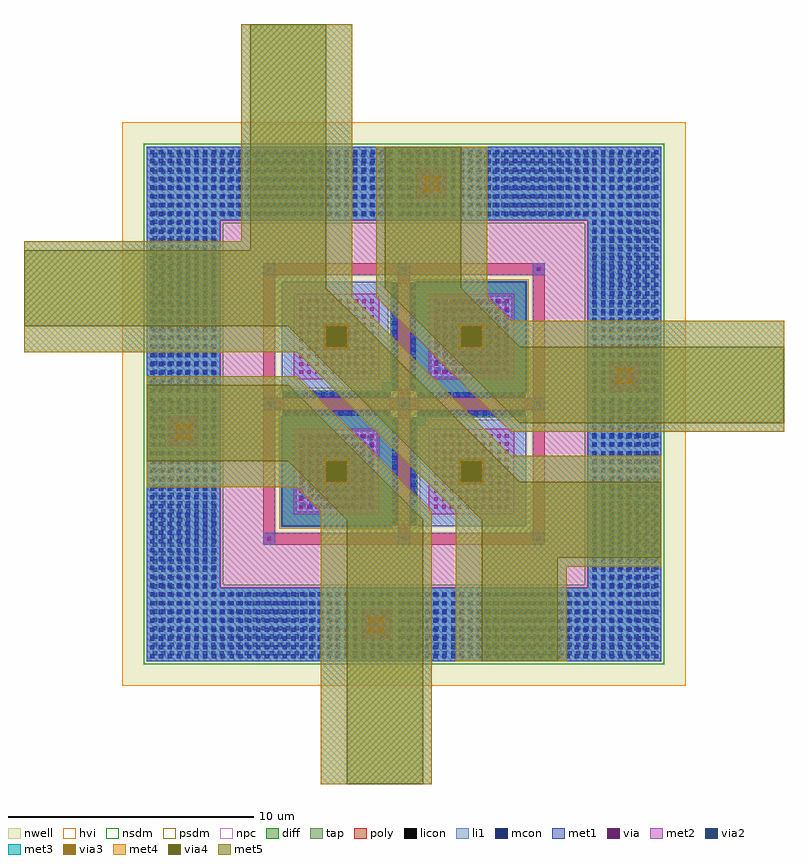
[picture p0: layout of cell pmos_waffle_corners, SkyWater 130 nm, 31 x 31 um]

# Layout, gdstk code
import gdstk
lib = gdstk.Library(unit=1e-6, precision=1e-09)
def R(c, l, rs):  # rectangles x0, y0, x1, y1
    for r in rs: c.add(gdstk.rectangle(r[:2], r[2:], *l))
def A(c, l, x, y, w, h, nx, ny, dx, dy):  # array of equal rectangles
    R(c, l, [(x+i*dx, y+j*dy, x+i*dx+w, y+j*dy+h) for i in range(nx) for j in range(ny)])
def P(c, l, *ps):  # polygons
    for p in ps: c.add(gdstk.Polygon(p, *l))
nwell = (64, 20)
diff = (65, 20)
tap = (65, 44)
poly = (66, 20)
licon = (66, 44)
li1 = (67, 20)
mcon = (67, 44)
met1 = (68, 20)
via = (68, 44)
met2 = (69, 20)
via2 = (69, 44)
met3 = (70, 20)
via3 = (70, 44)
met4 = (71, 20)
via4 = (71, 44)
met5 = (72, 20)
hvi = (75, 20)
nsdm = (93, 44)
psdm = (94, 20)
npc = (95, 20)

pmos_waffle_corners = lib.new_cell('pmos_waffle_corners')
R(pmos_waffle_corners, nwell, [(-11.25,-11.75,11.75,11.25)])
R(pmos_waffle_corners, diff, [(-4.71,-5.21,-0.29,-5.19), (-4.71,-5.19,0.79,-4.65), (-4.71,-4.65,-4.15,-1.35), (-0.85,-4.65,0.79,-1.35), (-4.71,-1.35,0.79,-1.14), (-4.71,-1.14,1.14,-0.81), (-4.71,-0.81,-0.29,-0.79), (0.81,-0.81,1.14,-0.79), (-4.69,-0.79,-0.31,0.29), (0.81,-0.79,5.19,0.29), (-0.64,0.29,-0.31,0.31), (0.79,0.29,5.21,0.31), (-0.64,0.31,5.21,0.64), (-0.29,0.64,5.21,0.85), (-0.29,0.85,1.35,4.15), (4.65,0.85,5.21,4.15), (-0.29,4.15,5.21,4.69), (0.79,4.69,5.21,4.71)])
R(pmos_waffle_corners, tap, [(-10.25,-10.75,10.75,-7.75), (-10.25,-7.75,-7.25,7.25), (7.75,-7.75,10.75,7.25), (-4.15,-4.65,-0.85,-1.35), (1.35,0.85,4.65,4.15), (-10.25,7.25,10.75,10.25)])
A(pmos_waffle_corners, poly, -5.5, -6, 11.5, 0.5, 1, 3, 0, 5.5)
A(pmos_waffle_corners, poly, -5.5, -5.5, 0.5, 5, 3, 2, 5.5, 5.5)
A(pmos_waffle_corners, licon, -9.995, -10.5, 0.17, 0.17, 29, 8, 0.34, 0.34)
A(pmos_waffle_corners, licon, 0.13, -10.5, 0.17, 0.17, 31, 8, 0.34, 0.34)
A(pmos_waffle_corners, licon, -9.995, -7.78, 0.17, 0.17, 8, 23, 0.34, 0.34)
A(pmos_waffle_corners, licon, 7.95, -7.78, 0.17, 0.17, 8, 23, 0.34, 0.34)
A(pmos_waffle_corners, licon, -5.335, -5.835, 0.17, 0.17, 3, 3, 5.5, 5.5)
A(pmos_waffle_corners, licon, -0.23, -5.125, 0.17, 0.17, 1, 13, 0, 0.34)
A(pmos_waffle_corners, licon, 0.56, -5.125, 0.17, 0.17, 1, 13, 0, 0.34)
A(pmos_waffle_corners, licon, -3.945, -4.445, 0.17, 0.17, 9, 9, 0.34, 0.34)
A(pmos_waffle_corners, licon, -4.625, -0.73, 0.17, 0.17, 13, 2, 0.34, 0.79)
A(pmos_waffle_corners, licon, 0.875, -0.73, 0.17, 0.17, 13, 2, 0.34, 0.79)
A(pmos_waffle_corners, licon, -9.995, 0.305, 0.17, 0.17, 8, 21, 0.34, 0.34)
A(pmos_waffle_corners, licon, 7.95, 0.305, 0.17, 0.17, 8, 21, 0.34, 0.34)
A(pmos_waffle_corners, licon, -0.23, 0.375, 0.17, 0.17, 1, 13, 0, 0.34)
A(pmos_waffle_corners, licon, 0.56, 0.375, 0.17, 0.17, 1, 13, 0, 0.34)
A(pmos_waffle_corners, licon, 1.555, 1.055, 0.17, 0.17, 9, 9, 0.34, 0.34)
A(pmos_waffle_corners, licon, -9.995, 7.445, 0.17, 0.17, 29, 8, 0.34, 0.34)
A(pmos_waffle_corners, licon, 0.13, 7.445, 0.17, 0.17, 31, 8, 0.34, 0.34)
A(pmos_waffle_corners, li1, -5.5, -6, 0.5, 0.5, 3, 3, 5.5, 5.5)
R(pmos_waffle_corners, li1, [(-10.25,-10.75,10.75,-7.75), (-10.25,-7.75,-7.25,7.25), (7.75,-7.75,10.75,7.25), (-4.77,-5.27,-0.23,-5.21), (-4.77,-5.21,-0.06,-0.79), (0.56,-5.21,0.73,-1.14), (0.56,-1.14,1.14,-0.79), (-4.77,-0.79,-0.23,-0.73), (0.79,-0.79,1.14,-0.73), (-4.71,-0.73,-0.29,-0.56), (0.79,-0.73,5.21,-0.56), (-4.71,0.06,-0.29,0.23), (0.79,0.06,5.21,0.23), (-0.64,0.23,-0.29,0.29), (0.73,0.23,5.27,0.29), (-0.64,0.29,-0.06,0.64), (0.56,0.29,5.27,4.71), (-0.23,0.64,-0.06,4.71), (0.73,4.71,5.27,4.77), (-10.25,7.25,10.75,10.25)])
A(pmos_waffle_corners, mcon, -10.105, -10.62, 0.17, 0.17, 28, 8, 0.36, 0.36)
A(pmos_waffle_corners, mcon, 0.01, -10.62, 0.17, 0.17, 30, 8, 0.36, 0.36)
A(pmos_waffle_corners, mcon, -10.105, -7.74, 0.17, 0.17, 8, 22, 0.36, 0.36)
A(pmos_waffle_corners, mcon, 7.93, -7.74, 0.17, 0.17, 8, 22, 0.36, 0.36)
A(pmos_waffle_corners, mcon, -5.335, -5.835, 0.17, 0.17, 3, 3, 5.5, 5.5)
A(pmos_waffle_corners, mcon, -0.23, -5.065, 0.17, 0.17, 1, 12, 0, 0.36)
A(pmos_waffle_corners, mcon, 0.56, -5.065, 0.17, 0.17, 1, 12, 0, 0.36)
A(pmos_waffle_corners, mcon, -4.025, -4.525, 0.17, 0.17, 9, 9, 0.36, 0.36)
A(pmos_waffle_corners, mcon, -4.565, -0.73, 0.17, 0.17, 12, 2, 0.36, 0.79)
A(pmos_waffle_corners, mcon, 0.935, -0.73, 0.17, 0.17, 12, 2, 0.36, 0.79)
A(pmos_waffle_corners, mcon, -10.105, 0.215, 0.17, 0.17, 8, 20, 0.36, 0.36)
A(pmos_waffle_corners, mcon, 7.93, 0.215, 0.17, 0.17, 8, 20, 0.36, 0.36)
A(pmos_waffle_corners, mcon, -0.23, 0.435, 0.17, 0.17, 1, 12, 0, 0.36)
A(pmos_waffle_corners, mcon, 0.56, 0.435, 0.17, 0.17, 1, 12, 0, 0.36)
A(pmos_waffle_corners, mcon, 1.475, 0.975, 0.17, 0.17, 9, 9, 0.36, 0.36)
A(pmos_waffle_corners, mcon, -10.105, 7.415, 0.17, 0.17, 28, 8, 0.36, 0.36)
A(pmos_waffle_corners, mcon, 0.01, 7.415, 0.17, 0.17, 30, 8, 0.36, 0.36)
A(pmos_waffle_corners, met1, -5.5, -6, 0.5, 0.5, 3, 3, 5.5, 5.5)
R(pmos_waffle_corners, met1, [(-10.25,-10.75,10.75,-7.75), (-10.25,-7.75,-7.25,7.25), (7.75,-7.75,10.75,7.25), (-4.74,-5.24,-0.26,-5.19), (0.76,-5.24,5.24,-5.19), (-4.74,-5.19,-0.03,-0.81), (0.53,-5.19,5.24,-0.81), (-4.74,-0.81,-0.26,-0.76), (0.76,-0.81,5.24,-0.76), (-4.69,-0.76,-0.31,-0.53), (0.81,-0.76,5.19,-0.53), (-4.69,0.03,-0.31,0.26), (0.81,0.03,5.19,0.26), (-4.74,0.26,-0.26,0.31), (0.76,0.26,5.24,0.31), (-4.74,0.31,-0.03,4.69), (0.53,0.31,5.24,4.69), (-4.74,4.69,-0.26,4.74), (0.76,4.69,5.24,4.74), (-10.25,7.25,10.75,10.25)])
A(pmos_waffle_corners, via, -1.275, -9.645, 0.15, 0.15, 3, 3, 0.32, 0.32)
A(pmos_waffle_corners, via, -5.325, -5.825, 0.15, 0.15, 3, 3, 5.5, 5.5)
A(pmos_waffle_corners, via, -4.015, -4.515, 0.15, 0.15, 10, 10, 0.32, 0.32)
A(pmos_waffle_corners, via, 1.485, -4.515, 0.15, 0.15, 10, 10, 0.32, 0.32)
A(pmos_waffle_corners, via, -9.145, -1.775, 0.15, 0.15, 3, 3, 0.32, 0.32)
A(pmos_waffle_corners, via, 8.855, 0.485, 0.15, 0.15, 3, 3, 0.32, 0.32)
A(pmos_waffle_corners, via, -4.015, 0.985, 0.15, 0.15, 10, 10, 0.32, 0.32)
A(pmos_waffle_corners, via, 1.485, 0.985, 0.15, 0.15, 10, 10, 0.32, 0.32)
A(pmos_waffle_corners, via, 0.985, 8.355, 0.15, 0.15, 3, 3, 0.32, 0.32)
R(pmos_waffle_corners, met2, [(-1.48,-9.85,-0.28,-8.65), (-7.25,-7.75,7.75,-5.5), (-7.25,-5.5,-5,-0.5), (0,-5.5,0.5,-0.5), (5.5,-5.5,7.75,-0.5), (-4.25,-4.75,-0.75,-1.25), (1.25,-4.75,4.75,-1.25), (-9.35,-1.98,-8.15,-0.78), (-7.25,-0.5,7.75,0), (-7.25,0,-5,5), (0,0,0.5,5), (5.5,0,7.75,5), (8.65,0.28,9.85,1.48), (-4.25,0.75,-0.75,4.25), (1.25,0.75,4.75,4.25), (-7.25,5,7.75,7.25), (0.78,8.15,1.98,9.35)])
A(pmos_waffle_corners, via2, -3, -3.5, 0.2, 0.2, 3, 3, 0.4, 0.4)
A(pmos_waffle_corners, via2, 2.5, -3.5, 0.2, 0.2, 3, 3, 0.4, 0.4)
A(pmos_waffle_corners, via2, -3, 2, 0.2, 0.2, 3, 3, 0.4, 0.4)
A(pmos_waffle_corners, via2, 2.5, 2, 0.2, 0.2, 3, 3, 0.4, 0.4)
R(pmos_waffle_corners, via2, [(-1.18,-9.55,-0.98,-9.35), (-0.78,-9.55,-0.58,-9.35), (-1.18,-9.15,-0.98,-8.95), (-0.78,-9.15,-0.58,-8.95), (-9.05,-1.68,-8.85,-1.48), (-8.65,-1.68,-8.45,-1.48), (-9.05,-1.28,-8.85,-1.08), (-8.65,-1.28,-8.45,-1.08), (8.95,0.58,9.15,0.78), (9.35,0.58,9.55,0.78), (8.95,0.98,9.15,1.18), (9.35,0.98,9.55,1.18), (1.08,8.45,1.28,8.65), (1.48,8.45,1.68,8.65), (1.08,8.85,1.28,9.05), (1.48,8.85,1.68,9.05)])
R(pmos_waffle_corners, met3, [(-3.14,-15.75,1.38,-4.62), (2.36,-10.75,6.88,-6.88), (2.36,-6.88,10.75,-3.64), (-3.14,-4.62,0.4,-3.64), (-10.25,-3.64,0.36,-3.6), (1.38,-3.64,10.75,-3.6), (-10.25,-3.6,0,-3.24), (1.34,-3.6,10.75,-3.24), (-10.25,-3.24,-0.84,-2.4), (0.98,-3.24,10.75,-2.4), (-10.25,-2.4,-0.88,-2.36), (0.14,-2.4,10.75,-2.36), (-10.25,-2.36,-1.86,-1.38), (0.1,-2.36,3.64,-1.38), (-10.25,-1.38,-2.84,-0.4), (-0.88,-1.38,2.66,-0.4), (4.62,-1.38,15.75,-0.4), (-10.25,-0.4,-3.24,0), (-1.86,-0.4,1.88,0), (3.64,-0.4,15.75,0.38), (-10.25,0,-3.62,0.38), (-2.26,0,1.88,0.38), (-10.25,0.38,-4.12,0.88), (-2.64,0.38,1.68,0.58), (2.86,0.38,15.75,0.58), (-2.64,0.58,0.88,0.88), (2.66,0.58,15.75,1.38), (-3.14,0.88,0.88,1.38), (-3.64,1.38,0.36,1.86), (1.86,1.38,15.75,1.9), (-15.25,1.86,0.36,1.9), (-15.25,1.9,0,2.26), (1.34,1.9,15.75,2.26), (-15.25,2.26,-0.84,3.1), (0.98,2.26,15.75,3.1), (-15.25,3.1,-0.88,3.14), (0.14,3.1,15.75,3.14), (-15.25,3.14,-1.86,6.38), (0.1,3.14,3.64,4.12), (-0.88,4.12,3.64,10.25), (-6.38,6.38,-1.86,15.25)])
P(pmos_waffle_corners, met3, [(-1.86,4.12),(-1.86,3.14),(-0.88,3.14)],
  [(-0.88,4.12),(0.1,4.12),(0.1,3.14)],
  [(3.64,4.12),(3.64,3.14),(4.62,3.14)],
  [(-0.88,3.14),(-0.88,3.1),(-0.84,3.1)],
  [(0.1,3.14),(0.14,3.14),(0.14,3.1)],
  [(-0.84,3.1),(-0.84,2.26),(0,2.26)],
  [(0.14,3.1),(0.98,3.1),(0.98,2.26)],
  [(0,2.26),(0,1.9),(0.36,1.9)],
  [(0.98,2.26),(1.34,2.26),(1.34,1.9)],
  [(-4.12,1.86),(-3.64,1.86),(-3.64,1.38)],
  [(0.36,1.9),(0.36,1.38),(0.88,1.38)],
  [(1.34,1.9),(1.86,1.9),(1.86,1.38)],
  [(-3.64,1.38),(-3.14,1.38),(-3.14,0.88)],
  [(-4.12,0.88),(-4.12,0.38),(-3.62,0.38)],
  [(-3.14,0.88),(-2.64,0.88),(-2.64,0.38)],
  [(0.88,1.38),(0.88,0.58),(1.68,0.58)],
  [(1.86,1.38),(2.66,1.38),(2.66,0.58)],
  [(1.68,0.58),(1.68,0.38),(1.88,0.38)],
  [(2.66,0.58),(2.86,0.58),(2.86,0.38)],
  [(-3.62,0.38),(-3.62,0),(-3.24,0)],
  [(-2.64,0.38),(-2.26,0.38),(-2.26,0)],
  [(-3.24,0),(-3.24,-0.4),(-2.84,-0.4)],
  [(-2.26,0),(-1.86,0),(-1.86,-0.4)],
  [(1.88,0.38),(1.88,-0.4),(2.66,-0.4)],
  [(2.86,0.38),(3.64,0.38),(3.64,-0.4)],
  [(-2.84,-0.4),(-2.84,-1.38),(-1.86,-1.38)],
  [(-1.86,-0.4),(-0.88,-0.4),(-0.88,-1.38)],
  [(2.66,-0.4),(2.66,-1.38),(3.64,-1.38)],
  [(3.64,-0.4),(4.62,-0.4),(4.62,-1.38)],
  [(-1.86,-1.38),(-1.86,-2.36),(-0.88,-2.36)],
  [(-0.88,-1.38),(0.1,-1.38),(0.1,-2.36)],
  [(3.64,-1.38),(3.64,-2.36),(4.62,-2.36)],
  [(-0.88,-2.36),(-0.88,-2.4),(-0.84,-2.4)],
  [(0.1,-2.36),(0.14,-2.36),(0.14,-2.4)],
  [(-0.84,-2.4),(-0.84,-3.24),(0,-3.24)],
  [(0.14,-2.4),(0.98,-2.4),(0.98,-3.24)],
  [(0,-3.24),(0,-3.6),(0.36,-3.6)],
  [(0.98,-3.24),(1.34,-3.24),(1.34,-3.6)],
  [(0.36,-3.6),(0.36,-3.64),(0.4,-3.64)],
  [(1.34,-3.6),(1.38,-3.6),(1.38,-3.64)],
  [(-4.12,-3.64),(-3.14,-3.64),(-3.14,-4.62)],
  [(0.4,-3.64),(0.4,-4.62),(1.38,-4.62)],
  [(1.38,-3.64),(2.36,-3.64),(2.36,-4.62)])
A(pmos_waffle_corners, via3, -3, -3.5, 0.2, 0.2, 3, 3, 0.4, 0.4)
A(pmos_waffle_corners, via3, 2.5, -3.5, 0.2, 0.2, 3, 3, 0.4, 0.4)
A(pmos_waffle_corners, via3, -3, 2, 0.2, 0.2, 3, 3, 0.4, 0.4)
A(pmos_waffle_corners, via3, 2.5, 2, 0.2, 0.2, 3, 3, 0.4, 0.4)
R(pmos_waffle_corners, via3, [(-1.18,-9.55,-0.98,-9.35), (-0.78,-9.55,-0.58,-9.35), (-1.18,-9.15,-0.98,-8.95), (-0.78,-9.15,-0.58,-8.95), (-9.05,-1.68,-8.85,-1.48), (-8.65,-1.68,-8.45,-1.48), (-9.05,-1.28,-8.85,-1.08), (-8.65,-1.28,-8.45,-1.08), (8.95,0.58,9.15,0.78), (9.35,0.58,9.55,0.78), (8.95,0.98,9.15,1.18), (9.35,0.98,9.55,1.18), (1.08,8.45,1.28,8.65), (1.48,8.45,1.68,8.65), (1.08,8.85,1.28,9.05), (1.48,8.85,1.68,9.05)])
R(pmos_waffle_corners, met4, [(-3.14,-15.75,1.38,-4.62), (2.36,-10.75,6.88,-6.88), (2.36,-6.88,10.75,-3.64), (-3.14,-4.62,0.4,-3.64), (-10.25,-3.64,0.36,-3.6), (1.38,-3.64,10.75,-3.6), (-10.25,-3.6,0,-3.24), (1.34,-3.6,10.75,-3.24), (-10.25,-3.24,-0.84,-2.4), (0.98,-3.24,10.75,-2.4), (-10.25,-2.4,-0.88,-2.36), (0.14,-2.4,10.75,-2.36), (-10.25,-2.36,-1.86,-1.38), (0.1,-2.36,3.64,-1.38), (-10.25,-1.38,-2.84,-0.4), (-0.88,-1.38,2.66,-0.4), (4.62,-1.38,15.75,-0.4), (-10.25,-0.4,-3.24,0), (-1.86,-0.4,1.88,0), (3.64,-0.4,15.75,0.38), (-10.25,0,-3.62,0.38), (-2.26,0,1.88,0.38), (-10.25,0.38,-4.12,0.88), (-2.64,0.38,1.68,0.58), (2.86,0.38,15.75,0.58), (-2.64,0.58,0.88,0.88), (2.66,0.58,15.75,1.38), (-3.14,0.88,0.88,1.38), (-3.64,1.38,0.36,1.86), (1.86,1.38,15.75,1.9), (-15.25,1.86,0.36,1.9), (-15.25,1.9,0,2.26), (1.34,1.9,15.75,2.26), (-15.25,2.26,-0.84,3.1), (0.98,2.26,15.75,3.1), (-15.25,3.1,-0.88,3.14), (0.14,3.1,15.75,3.14), (-15.25,3.14,-1.86,6.38), (0.1,3.14,3.64,4.12), (-0.88,4.12,3.64,10.25), (-6.38,6.38,-1.86,15.25)])
P(pmos_waffle_corners, met4, [(-1.86,4.12),(-1.86,3.14),(-0.88,3.14)],
  [(-0.88,4.12),(0.1,4.12),(0.1,3.14)],
  [(3.64,4.12),(3.64,3.14),(4.62,3.14)],
  [(-0.88,3.14),(-0.88,3.1),(-0.84,3.1)],
  [(0.1,3.14),(0.14,3.14),(0.14,3.1)],
  [(-0.84,3.1),(-0.84,2.26),(0,2.26)],
  [(0.14,3.1),(0.98,3.1),(0.98,2.26)],
  [(0,2.26),(0,1.9),(0.36,1.9)],
  [(0.98,2.26),(1.34,2.26),(1.34,1.9)],
  [(-4.12,1.86),(-3.64,1.86),(-3.64,1.38)],
  [(0.36,1.9),(0.36,1.38),(0.88,1.38)],
  [(1.34,1.9),(1.86,1.9),(1.86,1.38)],
  [(-3.64,1.38),(-3.14,1.38),(-3.14,0.88)],
  [(-4.12,0.88),(-4.12,0.38),(-3.62,0.38)],
  [(-3.14,0.88),(-2.64,0.88),(-2.64,0.38)],
  [(0.88,1.38),(0.88,0.58),(1.68,0.58)],
  [(1.86,1.38),(2.66,1.38),(2.66,0.58)],
  [(1.68,0.58),(1.68,0.38),(1.88,0.38)],
  [(2.66,0.58),(2.86,0.58),(2.86,0.38)],
  [(-3.62,0.38),(-3.62,0),(-3.24,0)],
  [(-2.64,0.38),(-2.26,0.38),(-2.26,0)],
  [(-3.24,0),(-3.24,-0.4),(-2.84,-0.4)],
  [(-2.26,0),(-1.86,0),(-1.86,-0.4)],
  [(1.88,0.38),(1.88,-0.4),(2.66,-0.4)],
  [(2.86,0.38),(3.64,0.38),(3.64,-0.4)],
  [(-2.84,-0.4),(-2.84,-1.38),(-1.86,-1.38)],
  [(-1.86,-0.4),(-0.88,-0.4),(-0.88,-1.38)],
  [(2.66,-0.4),(2.66,-1.38),(3.64,-1.38)],
  [(3.64,-0.4),(4.62,-0.4),(4.62,-1.38)],
  [(-1.86,-1.38),(-1.86,-2.36),(-0.88,-2.36)],
  [(-0.88,-1.38),(0.1,-1.38),(0.1,-2.36)],
  [(3.64,-1.38),(3.64,-2.36),(4.62,-2.36)],
  [(-0.88,-2.36),(-0.88,-2.4),(-0.84,-2.4)],
  [(0.1,-2.36),(0.14,-2.36),(0.14,-2.4)],
  [(-0.84,-2.4),(-0.84,-3.24),(0,-3.24)],
  [(0.14,-2.4),(0.98,-2.4),(0.98,-3.24)],
  [(0,-3.24),(0,-3.6),(0.36,-3.6)],
  [(0.98,-3.24),(1.34,-3.24),(1.34,-3.6)],
  [(0.36,-3.6),(0.36,-3.64),(0.4,-3.64)],
  [(1.34,-3.6),(1.38,-3.6),(1.38,-3.64)],
  [(-4.12,-3.64),(-3.14,-3.64),(-3.14,-4.62)],
  [(0.4,-3.64),(0.4,-4.62),(1.38,-4.62)],
  [(1.38,-3.64),(2.36,-3.64),(2.36,-4.62)])
R(pmos_waffle_corners, via4, [(-2.9,-3.4,-2.1,-2.6), (2.6,-3.4,3.4,-2.6), (-2.9,2.1,-2.1,2.9), (2.6,2.1,3.4,2.9)])
R(pmos_waffle_corners, met5, [(-2.08,-15.75,1.03,-4.97), (3.42,-10.75,6.53,-6.53), (3.42,-6.53,10.75,-3.94), (-2.08,-4.97,0,-3.94), (-2.08,-3.94,-0.34,-3.6), (2.38,-3.94,10.75,-3.6), (-3.46,-3.6,-1.54,-2.58), (2.04,-3.6,10.75,-3.42), (2.04,-3.42,3.96,-2.4), (-10.25,-2.58,-1.54,-2.4), (-10.25,-2.4,-2.91,-1.03), (0.84,-2.4,2.59,-1.03), (-10.25,-1.03,-3.94,0), (-0.53,-1.03,1.56,0), (4.97,-1.03,15.75,0), (-10.25,0,-4.47,0.53), (-1.56,0,0,0.53), (3.94,0,15.75,1.56), (-2.09,0.53,0,1.56), (-3.12,1.56,-0.34,1.9), (2.38,1.56,15.75,1.9), (-3.46,1.9,-1.54,2.92), (2.04,1.9,15.75,2.08), (2.04,2.08,3.96,3.1), (-15.25,2.92,-1.54,3.1), (-15.25,3.1,-2.92,6.03), (0.84,3.1,2.58,4.47), (-0.53,4.47,2.58,10.25), (-6.03,6.03,-2.92,15.25)])
P(pmos_waffle_corners, met5, [(-2.92,4.48),(-2.92,3.1),(-1.54,3.1)],
  [(-0.53,4.47),(0.84,4.47),(0.84,3.1)],
  [(2.58,4.48),(2.58,3.1),(3.96,3.1)],
  [(-4.48,2.92),(-3.46,2.92),(-3.46,1.9)],
  [(-1.54,3.1),(-1.54,1.9),(-0.34,1.9)],
  [(0.84,3.1),(2.04,3.1),(2.04,1.9)],
  [(3.96,3.1),(3.96,2.08),(4.98,2.08)],
  [(-3.46,1.9),(-3.12,1.9),(-3.12,1.56)],
  [(-0.34,1.9),(-0.34,1.56),(0,1.56)],
  [(2.04,1.9),(2.38,1.9),(2.38,1.56)],
  [(-3.12,1.56),(-2.09,1.56),(-2.09,0.53)],
  [(-4.47,0.53),(-4.47,0),(-3.94,0)],
  [(-2.09,0.53),(-1.56,0.53),(-1.56,0)],
  [(0,1.56),(0,0),(1.56,0)],
  [(2.38,1.56),(3.94,1.56),(3.94,0)],
  [(-3.94,0),(-3.94,-1.03),(-2.91,-1.03)],
  [(-1.56,0),(-0.53,0),(-0.53,-1.03)],
  [(1.56,0),(1.56,-1.03),(2.59,-1.03)],
  [(3.94,0),(4.97,0),(4.97,-1.03)],
  [(-2.91,-1.03),(-2.91,-2.4),(-1.54,-2.4)],
  [(-0.53,-1.03),(0.84,-1.03),(0.84,-2.4)],
  [(2.59,-1.03),(2.59,-2.4),(3.96,-2.4)],
  [(-4.48,-2.58),(-3.46,-2.58),(-3.46,-3.6)],
  [(-1.54,-2.4),(-1.54,-3.6),(-0.34,-3.6)],
  [(0.84,-2.4),(2.04,-2.4),(2.04,-3.6)],
  [(3.96,-2.4),(3.96,-3.42),(4.98,-3.42)],
  [(-3.46,-3.6),(-2.08,-3.6),(-2.08,-4.98)],
  [(-0.34,-3.6),(-0.34,-3.94),(0,-3.94)],
  [(2.04,-3.6),(2.38,-3.6),(2.38,-3.94)],
  [(0,-3.94),(0,-4.97),(1.03,-4.97)],
  [(2.38,-3.94),(3.42,-3.94),(3.42,-4.98)])
R(pmos_waffle_corners, hvi, [(-11.25,-11.75,11.75,11.25)])
R(pmos_waffle_corners, nsdm, [(-10.375,-10.875,10.875,-7.625), (-10.375,-7.625,-7.125,7.125), (7.625,-7.625,10.875,7.125), (-4.15,-4.65,-0.85,-1.35), (1.35,0.85,4.65,4.15), (-10.375,7.125,10.875,10.375)])
R(pmos_waffle_corners, psdm, [(-4.835,-5.335,-0.165,-5.315), (-4.835,-5.315,0.915,-4.65), (-4.835,-4.65,-4.15,-1.35), (-0.85,-4.65,0.915,-1.35), (-4.835,-1.35,0.915,-1.265), (-4.835,-1.265,1.265,-0.915), (-4.835,-0.915,5.315,-0.685), (-4.835,-0.685,-0.165,-0.665), (0.685,-0.685,5.315,0.165), (-4.815,-0.665,-0.185,0.185), (0.665,0.165,5.335,0.185), (-4.815,0.185,5.335,0.415), (-0.765,0.415,5.335,0.765), (-0.415,0.765,5.335,0.85), (-0.415,0.85,1.35,4.15), (4.65,0.85,5.335,4.15), (-0.415,4.15,5.335,4.815), (0.665,4.815,5.335,4.835)])
A(pmos_waffle_corners, npc, -5.435, -5.935, 0.37, 0.37, 3, 3, 5.5, 5.5)

lib.write_gds('pmos_waffle_corners.gds')
